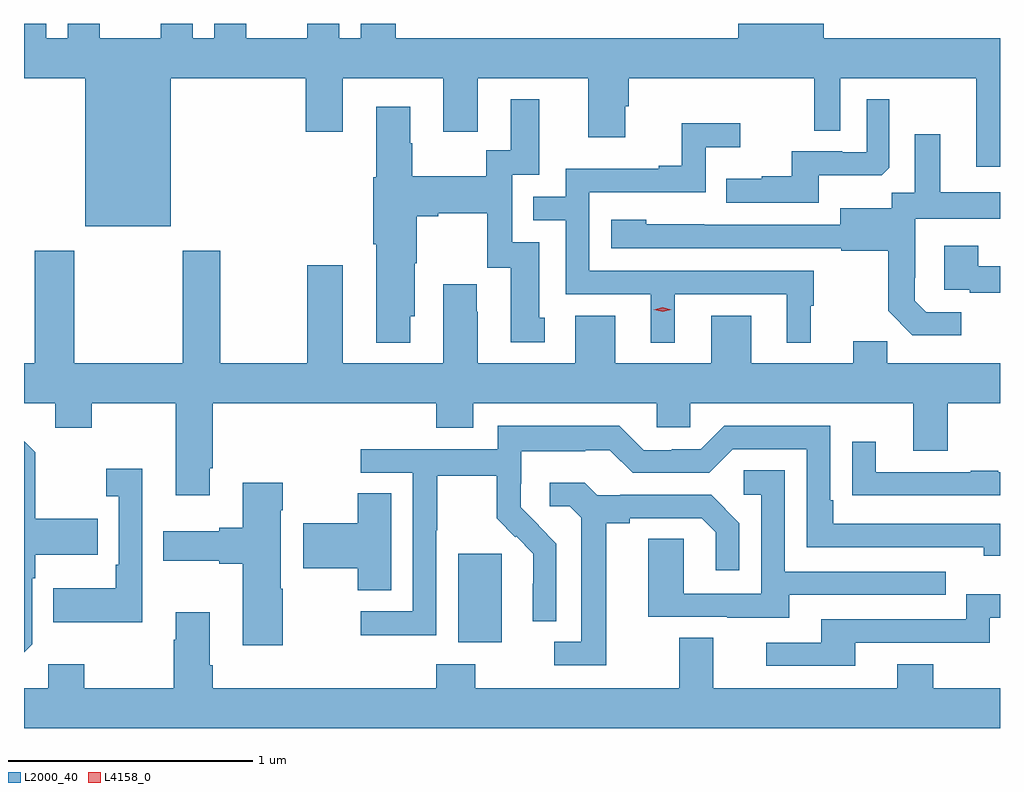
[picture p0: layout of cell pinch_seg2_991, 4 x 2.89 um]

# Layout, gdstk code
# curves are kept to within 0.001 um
import gdstk
lib = gdstk.Library(unit=1e-6, precision=1e-09)
def R(c, l, rs):  # rectangles x0, y0, x1, y1
    for r in rs: c.add(gdstk.rectangle(r[:2], r[2:], *l))
def P(c, l, *ps):  # polygons
    for p in ps: c.add(gdstk.Polygon(p, *l))
L2000_40 = (2000, 40)
L4158_0 = (4158, 0)

pinch_seg2_991 = lib.new_cell('pinch_seg2_991')
R(pinch_seg2_991, L2000_40, [(194.627,609.362,194.806,609.723)])
P(pinch_seg2_991, L2000_40, [(195.776,611.897),(195.776,611.836),(194.372,611.836),(194.372,611.897),(194.228,611.897),(194.228,611.836),(194.14,611.836),(194.14,611.897),(194.009,611.897),(194.009,611.836),(193.759,611.836),(193.759,611.897),(193.628,611.897),(193.628,611.836),(193.54,611.836),(193.54,611.897),(193.409,611.897),(193.409,611.836),(193.159,611.836),(193.159,611.897),(193.028,611.897),(193.028,611.836),(192.94,611.836),(192.94,611.897),(192.848,611.897),(192.848,611.672),(193.1,611.672),(193.1,611.066),(193.45,611.066),(193.45,611.672),(194.003,611.672),(194.003,611.454),(194.155,611.454),(194.155,611.672),(194.567,611.672),(194.567,611.454),(194.707,611.454),(194.707,611.672),(195.161,611.672),(195.161,611.43),(195.313,611.43),(195.313,611.559),(195.326,611.559),(195.326,611.672),(196.086,611.672),(196.086,611.458),(196.194,611.458),(196.194,611.672),(196.751,611.672),(196.751,611.31),(196.848,611.31),(196.848,611.836),(196.126,611.836),(196.126,611.897)],
  [(196.105,611.276),(196.363,611.276),(196.395,611.307),(196.395,611.587),(196.302,611.587),(196.302,611.37),(196.202,611.37),(196.202,611.373),(195.995,611.373),(195.995,611.272),(195.871,611.272),(195.871,611.26),(195.727,611.26),(195.727,611.163),(196.105,611.163)],
  [(194.431,610.698),(194.449,610.698),(194.449,610.915),(194.457,610.915),(194.457,611.108),(194.545,611.108),(194.545,611.12),(194.747,611.12),(194.747,610.896),(194.843,610.896),(194.843,610.59),(194.983,610.59),(194.983,610.692),(194.959,610.692),(194.959,611.001),(194.85,611.001),(194.85,611.277),(194.959,611.277),(194.959,611.587),(194.843,611.587),(194.843,611.378),(194.742,611.378),(194.742,611.272),(194.439,611.272),(194.439,611.406),(194.431,611.406),(194.431,611.557),(194.291,611.557),(194.291,611.268),(194.279,611.268),(194.279,610.993),(194.291,610.993),(194.291,610.589),(194.431,610.589)],
  [(195.514,610.788),(195.974,610.788),(195.974,610.589),(196.072,610.589),(196.072,610.74),(196.084,610.74),(196.084,610.884),(195.165,610.884),(195.165,611.205),(195.642,611.205),(195.642,611.39),(195.784,611.39),(195.784,611.489),(195.544,611.489),(195.544,611.314),(195.449,611.314),(195.449,611.301),(195.069,611.301),(195.069,611.187),(194.935,611.187),(194.935,611.091),(195.069,611.091),(195.069,610.788),(195.416,610.788),(195.416,610.589),(195.514,610.589)],
  [(196.69,610.713),(196.545,610.713),(196.498,610.76),(196.498,610.855),(196.5,610.855),(196.5,611.096),(196.848,611.096),(196.848,611.206),(196.603,611.206),(196.603,611.443),(196.499,611.443),(196.499,611.204),(196.404,611.204),(196.404,611.14),(196.193,611.14),(196.193,611.073),(195.399,611.074),(195.399,611.092),(195.255,611.092),(195.255,610.977),(196.197,610.977),(196.197,610.965),(196.389,610.965),(196.389,610.719),(196.489,610.619),(196.69,610.619)],
  [(196.848,610.902),(196.759,610.902),(196.759,610.987),(196.619,610.987),(196.619,610.806),(196.723,610.806),(196.723,610.794),(196.848,610.794)],
  [(193.609,610.075),(193.622,610.075),(193.622,610.34),(194.537,610.34),(194.537,610.241),(194.689,610.241),(194.689,610.34),(195.441,610.34),(195.441,610.242),(195.579,610.242),(195.579,610.34),(196.493,610.34),(196.493,610.146),(196.633,610.146),(196.633,610.34),(196.848,610.34),(196.848,610.504),(196.385,610.504),(196.385,610.595),(196.247,610.595),(196.247,610.504),(195.829,610.504),(195.829,610.699),(195.665,610.699),(195.665,610.504),(195.271,610.504),(195.271,610.699),(195.107,610.699),(195.107,610.504),(194.707,610.504),(194.707,610.715),(194.704,610.715),(194.704,610.828),(194.567,610.828),(194.567,610.504),(194.155,610.504),(194.155,610.906),(194.008,610.906),(194.008,610.504),(193.653,610.504),(193.653,610.966),(193.498,610.966),(193.498,610.504),(193.053,610.504),(193.053,610.966),(192.893,610.966),(192.893,610.504),(192.848,610.504),(192.848,610.34),(192.977,610.34),(192.977,610.241),(193.125,610.241),(193.125,610.34),(193.469,610.34),(193.469,609.963),(193.609,609.963)],
  [(194.538,609.82),(194.541,609.82),(194.541,610.044),(194.785,610.044),(194.785,609.869),(194.862,609.792),(194.865,609.795),(194.936,609.725),(194.936,609.602),(194.934,609.602),(194.934,609.448),(195.03,609.448),(195.03,609.766),(194.884,609.914),(194.884,610.011),(194.886,610.011),(194.886,610.145),(195.149,610.145),(195.149,610.149),(195.249,610.149),(195.342,610.056),(195.657,610.056),(195.753,610.152),(196.056,610.152),(196.056,609.75),(196.781,609.75),(196.781,609.716),(196.848,609.716),(196.848,609.846),(196.165,609.846),(196.165,609.943),(196.152,609.943),(196.152,610.248),(195.717,610.248),(195.621,610.152),(195.503,610.152),(195.503,610.149),(195.387,610.149),(195.287,610.249),(194.79,610.249),(194.79,610.152),(194.229,610.152),(194.229,610.056),(194.442,610.056),(194.442,609.489),(194.229,609.489),(194.229,609.391),(194.538,609.391)],
  [(192.882,609.354),(192.882,609.623),(192.895,609.623),(192.895,609.719),(193.151,609.719),(193.151,609.867),(192.895,609.867),(192.895,610.139),(192.848,610.186),(192.848,609.32)],
  [(196.848,610.059),(196.841,610.059),(196.841,610.064),(196.729,610.064),(196.729,610.059),(196.339,610.059),(196.339,610.183),(196.243,610.183),(196.243,609.964),(196.345,609.964),(196.345,609.963),(196.848,609.963)],
  [(193.332,610.072),(193.185,610.072),(193.185,609.959),(193.236,609.959),(193.236,609.679),(193.224,609.679),(193.224,609.583),(192.967,609.583),(192.967,609.443),(193.332,609.443)],
  [(195.985,609.555),(196.625,609.555),(196.625,609.651),(195.966,609.651),(195.966,610.067),(195.798,610.067),(195.798,609.966),(195.87,609.966),(195.87,609.561),(195.552,609.561),(195.552,609.785),(195.407,609.785),(195.407,609.465),(195.731,609.465),(195.731,609.461),(195.985,609.461)],
  [(195.235,609.848),(195.331,609.848),(195.331,609.87),(195.626,609.87),(195.683,609.813),(195.683,609.657),(195.78,609.657),(195.78,609.85),(195.664,609.966),(195.292,609.966),(195.292,609.963),(195.198,609.963),(195.146,610.015),(195.003,610.015),(195.003,609.918),(195.084,609.918),(195.131,609.871),(195.131,609.363),(195.021,609.363),(195.021,609.267),(195.235,609.267)],
  [(193.908,609.581),(193.9,609.581),(193.9,609.902),(193.908,609.902),(193.908,610.015),(193.745,610.015),(193.745,609.83),(193.649,609.83),(193.649,609.817),(193.419,609.817),(193.419,609.695),(193.649,609.695),(193.649,609.683),(193.745,609.683),(193.745,609.348),(193.908,609.348)],
  [(194.353,609.971),(194.215,609.971),(194.215,609.848),(193.992,609.848),(193.992,609.665),(194.215,609.665),(194.215,609.574),(194.353,609.574)],
  [(196.255,609.36),(196.806,609.36),(196.806,609.462),(196.848,609.462),(196.848,609.559),(196.71,609.559),(196.71,609.456),(196.115,609.456),(196.115,609.36),(195.891,609.36),(195.891,609.264),(196.255,609.264)],
  [(196.848,609.172),(196.575,609.172),(196.575,609.271),(196.427,609.271),(196.427,609.172),(195.673,609.172),(195.673,609.38),(195.533,609.38),(195.533,609.172),(194.697,609.172),(194.697,609.271),(194.537,609.271),(194.537,609.172),(193.622,609.172),(193.622,609.268),(193.609,609.268),(193.609,609.484),(193.469,609.484),(193.469,609.371),(193.462,609.371),(193.462,609.172),(193.095,609.172),(193.095,609.271),(192.948,609.271),(192.948,609.172),(192.848,609.172),(192.848,609.008),(196.848,609.008)])
P(pinch_seg2_991, L4158_0, [(195.465,610.715),(195.429,610.725),(195.429,610.725),(195.429,610.725),(195.465,610.735),(195.501,610.725),(195.501,610.725),(195.501,610.725)])

lib.write_gds('pinch_seg2_991.gds')
